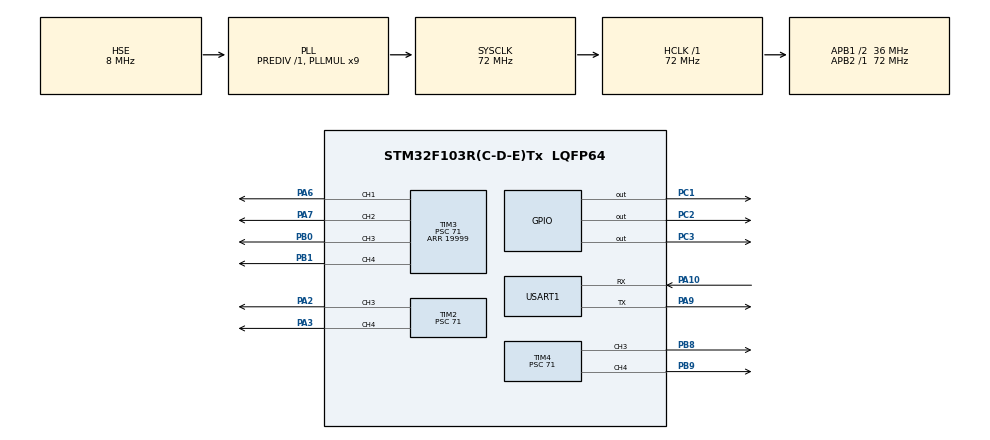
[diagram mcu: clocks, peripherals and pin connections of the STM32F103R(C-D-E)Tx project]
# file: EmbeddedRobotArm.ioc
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Mcu.Family=STM32F1
Mcu.Name=STM32F103R(C-D-E)Tx
Mcu.Package=LQFP64
NVIC.PriorityGroup=NVIC_PRIORITYGROUP_4
NVIC.USART1_IRQn=true\:0\:0\:false\:false\:true\:true\:true\:true
PA10.Mode=Asynchronous
PA10.Signal=USART1_RX
PA13.Mode=Serial_Wire
PA13.Signal=SYS_JTMS-SWDIO
PA14.Mode=Serial_Wire
PA14.Signal=SYS_JTCK-SWCLK
PA2.Signal=S_TIM2_CH3
PA3.Signal=S_TIM2_CH4
PA6.Signal=S_TIM3_CH1
PA7.Signal=S_TIM3_CH2
PA9.Mode=Asynchronous
PA9.Signal=USART1_TX
PB0.Signal=S_TIM3_CH3
PB1.Signal=S_TIM3_CH4
PB8.Signal=S_TIM4_CH3
PB9.Signal=S_TIM4_CH4
PC1.GPIO_PuPd=GPIO_PULLDOWN
PC1.GPIO_Speed=GPIO_SPEED_FREQ_HIGH
PC1.Signal=GPIO_Output
PC14-OSC32_IN.Mode=LSE-External-Oscillator
PC14-OSC32_IN.Signal=RCC_OSC32_IN
PC15-OSC32_OUT.Mode=LSE-External-Oscillator
PC15-OSC32_OUT.Signal=RCC_OSC32_OUT
PC2.GPIO_Speed=GPIO_SPEED_FREQ_LOW
PC2.PinState=GPIO_PIN_SET
PC2.Signal=GPIO_Output
PC3.GPIO_Speed=GPIO_SPEED_FREQ_LOW
PC3.PinState=GPIO_PIN_SET
PC3.Signal=GPIO_Output
PD0-OSC_IN.Mode=HSE-External-Oscillator
PD0-OSC_IN.Signal=RCC_OSC_IN
PD1-OSC_OUT.Mode=HSE-External-Oscillator
PD1-OSC_OUT.Signal=RCC_OSC_OUT
ProjectManager.HeapSize=0x200
ProjectManager.StackSize=0x400
ProjectManager.TargetToolchain=STM32CubeIDE
RCC.AHBFreq_Value=72000000
RCC.APB1CLKDivider=RCC_HCLK_DIV2
RCC.APB1Freq_Value=36000000
RCC.APB1TimFreq_Value=72000000
RCC.APB2Freq_Value=72000000
RCC.APB2TimFreq_Value=72000000
RCC.HCLKFreq_Value=72000000
RCC.PLLMUL=RCC_PLL_MUL9
RCC.PLLSourceVirtual=RCC_PLLSOURCE_HSE
RCC.SYSCLKFreq_VALUE=72000000
RCC.SYSCLKSource=RCC_SYSCLKSOURCE_PLLCLK
RCC.USBFreq_Value=72000000
SH.S_TIM2_CH3.0=TIM2_CH3,PWM Generation3 CH3
SH.S_TIM2_CH4.0=TIM2_CH4,PWM Generation4 CH4
SH.S_TIM3_CH1.0=TIM3_CH1,PWM Generation1 CH1
SH.S_TIM3_CH2.0=TIM3_CH2,PWM Generation2 CH2
SH.S_TIM3_CH3.0=TIM3_CH3,PWM Generation3 CH3
SH.S_TIM3_CH4.0=TIM3_CH4,PWM Generation4 CH4
SH.S_TIM4_CH3.0=TIM4_CH3,PWM Generation3 CH3
SH.S_TIM4_CH4.0=TIM4_CH4,PWM Generation4 CH4
TIM2.Channel-PWM\ Generation3\ CH3=TIM_CHANNEL_3
TIM2.Channel-PWM\ Generation4\ CH4=TIM_CHANNEL_4
TIM2.Period=19999
TIM2.Prescaler=71
TIM2.Pulse-PWM\ Generation3\ CH3=500
TIM2.Pulse-PWM\ Generation4\ CH4=500
TIM3.Channel-PWM\ Generation1\ CH1=TIM_CHANNEL_1
TIM3.Channel-PWM\ Generation2\ CH2=TIM_CHANNEL_2
TIM3.Channel-PWM\ Generation3\ CH3=TIM_CHANNEL_3
TIM3.Channel-PWM\ Generation4\ CH4=TIM_CHANNEL_4
TIM3.Period=19999
TIM3.Prescaler=71
TIM3.Pulse-PWM\ Generation1\ CH1=500
TIM3.Pulse-PWM\ Generation2\ CH2=500
TIM3.Pulse-PWM\ Generation3\ CH3=500
TIM3.Pulse-PWM\ Generation4\ CH4=500
TIM4.Channel-PWM\ Generation3\ CH3=TIM_CHANNEL_3
TIM4.Channel-PWM\ Generation4\ CH4=TIM_CHANNEL_4
TIM4.Period=19999
TIM4.Prescaler=71
TIM4.Pulse-PWM\ Generation3\ CH3=500
TIM4.Pulse-PWM\ Generation4\ CH4=500
USART1.VirtualMode=VM_ASYNC
VP_TIM2_VS_ClockSourceINT.Mode=Internal
VP_TIM3_VS_ClockSourceINT.Mode=Internal
VP_TIM4_VS_ClockSourceINT.Mode=Internal
board=custom

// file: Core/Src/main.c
/* USER CODE BEGIN Header */
/**
  ******************************************************************************
  * @file           : main.c
  * @brief          : Main program body
  ******************************************************************************
  * @attention
  *
  * Copyright (c) 2023 STMicroelectronics.
  * All rights reserved.
  *
  * This software is licensed under terms that can be found in the LICENSE file
  * in the root directory of this software component.
  * If no LICENSE file comes with this software, it is provided AS-IS.
  *
  ******************************************************************************
  */
/* USER CODE END Header */
#include "main.h"
#include "tim.h"
#include "usart.h"
#include "gpio.h"

void SystemClock_Config(void);

/* USER CODE BEGIN 0 */

void user_Function(uint8_t* string){
    uint8_t* pt = string + 1;
    uint8_t num = 0;
    while(*string != '+'){
        string++;
        pt = string + 1;
        num++;
    }
    if ((*pt == 'L' || *pt == 'l') &&
        (*(pt+1) == 'E' || *(pt+1) == 'e') &&
        (*(pt+2) == 'D' || *(pt+2) == 'd') &&
        (*(pt+3) == ',')) {
        pt = pt + 4;
        uint8_t idx;
        uint8_t led_num = 0;
        for (idx = 0; *(pt + idx) != ','; idx++) {
            led_num *= 10;
            led_num += *(pt + idx) - '0';
        }
        pt = pt + idx + 1;
        uint8_t led_sta = 0;
        for (idx = 0; *(pt + idx) != ','; idx++) {
            led_sta *= 10;
            led_sta += *(pt + idx) - '0';
        }
        if (led_num == 0) {
            if (led_sta == 0) {
                LED0_OFF();
                uint8_t TX_Str[] = "\r\nLED0: Close\r\n";
                HAL_UART_Transmit(&huart1, TX_Str, sizeof(TX_Str), 1000);
            } else if (led_sta == 1) {
                LED0_ON();
                uint8_t TX_Str[] = "\r\nLED0: Open\r\n";
                HAL_UART_Transmit(&huart1, TX_Str, sizeof(TX_Str), 1000);
            } else {
                uint8_t TX_Str[] = "\r\nLED0: Status Error\r\n";
                HAL_UART_Transmit(&huart1, TX_Str, sizeof(TX_Str), 1000);
            }
        } else if (led_num == 1) {
            if (led_sta == 0) {
                LED1_OFF();
                uint8_t TX_Str[] = "\r\nLED1: Close\r\n";
                HAL_UART_Transmit(&huart1, TX_Str, sizeof(TX_Str), 1000);
            } else if (led_sta == 1) {
                LED1_ON();
                uint8_t TX_Str[] = "\r\nLED1: Open\r\n";
                HAL_UART_Transmit(&huart1, TX_Str, sizeof(TX_Str), 1000);
            } else {
                uint8_t TX_Str[] = "\r\nLED1: Status Error\r\n";
                HAL_UART_Transmit(&huart1, TX_Str, sizeof(TX_Str), 1000);
            }
        } else {
            uint8_t TX_Str[] = "\r\nLED: Index Error\r\n";
            HAL_UART_Transmit(&huart1, TX_Str, sizeof(TX_Str), 1000);
        }
    }
    else if ((*pt == 'S' || *pt == 's') &&
             (*(pt+1) == 'E' || *(pt+1) == 'e') &&
             (*(pt+2) == 'R' || *(pt+2) == 'r') &&
             (*(pt+3) == ',')) {
        pt = pt + 4;
        uint8_t idx;
        uint8_t servo_num = 0;
        for (idx = 0; *(pt+idx)!= ','; idx++){
            servo_num *= 10;
            servo_num += *(pt+idx) - '0';
        }
        pt = pt + idx + 1;
        if (servo_num < 0 || servo_num > 6){
            uint8_t TX_Str[] = "\r\nSERVO: Index Error\r\n";
            HAL_UART_Transmit(&huart1, TX_Str, sizeof(TX_Str), 1000);
        }
        else{
            double servo_angle = 0;
            double servo_angle_tmp = 0;
            uint8_t flag = 0;
            for (idx = 0; *(pt + idx) != ','; idx++) {
                if (*(pt + idx) == '.') {
                    flag = 1;
                    continue;
                }

                if (flag == 0) {
                    servo_angle *= 10;
                    servo_angle = servo_angle + (double)(*(pt + idx) - '0');
                }
                else {
                    uint8_t tmp;
                    for (tmp = 0; tmp < flag; tmp++) {
                        servo_angle_tmp = (double)(*(pt + idx) - '0') / 10;
                    }
                    servo_angle += servo_angle_tmp;
                    flag++;
                }
            }

            if (servo_angle < 0 || servo_angle > 360){
                uint8_t TX_Str[] = "\r\nSER: Angle Setting Error\r\n";
                HAL_UART_Transmit(&huart1, TX_Str, sizeof(TX_Str), 1000);
            }
            else{
                if (servo_num == 0){
                    servo_pulse_last[0] = servo_pulse[0];
                    servo_pulse[0] = (uint16_t)(servo_angle / SERVO0_MAX_ANGLE * 2000 + 500);
                }
                else if (servo_num == 1){
                    servo_pulse_last[1] = servo_pulse[1];
                    servo_pulse[1] = (uint16_t)(servo_angle / SERVO1_MAX_ANGLE * 2000 + 500);
                }
                else if (servo_num == 2){
                    servo_pulse_last[2] = servo_pulse[2];
                    servo_pulse[2] = (uint16_t)(servo_angle / SERVO2_MAX_ANGLE * 2000 + 500);
                }
                else if (servo_num == 3){
                    servo_pulse_last[3] = servo_pulse[3];
                    servo_pulse[3] = (uint16_t)(servo_angle / SERVO3_MAX_ANGLE * 2000 + 500);
                }
                else if (servo_num == 4){
                    servo_pulse_last[4] = servo_pulse[4];
                    servo_pulse[4] = (uint16_t)(servo_angle / SERVO4_MAX_ANGLE * 2000 + 500);
                }
                else if (servo_num == 5){
                    servo_pulse_last[5] = servo_pulse[5];
                    servo_pulse[5] = (uint16_t)(servo_angle / SERVO5_MAX_ANGLE * 2000 + 500);
                }

                uint8_t TX_Str[] = "\r\nSER: Move Successfully\r\n";
                HAL_UART_Transmit(&huart1, TX_Str, sizeof(TX_Str), 1000);

                servo_Move2Goal();
            }
        }
    }
    else if ((*pt == 'S' || *pt == 's') &&
             (*(pt+1) == 'E' || *(pt+1) == 'e') &&
             (*(pt+2) == 'R' || *(pt+2) == 'r') &&
             (*(pt+3) == 'V' || *(pt+3) == 'v') &&
             (*(pt+4) == 'O' || *(pt+4) == 'o') &&
             (*(pt+5) == 'S' || *(pt+5) == 's') &&
             (*(pt+6) == ',')) {
        pt = pt + 7;
        uint8_t idx;
        uint8_t valid = 0;
        double angle[USED_SERVO_NUM] = {0};
        double angle_tmp[USED_SERVO_NUM] = {0};
        for(uint8_t i = 0; i < USED_SERVO_NUM; ++i){
            uint8_t flag = 0;
            for (idx = 0; *(pt + idx) != ','; idx++) {
                if (*(pt + idx) == '.') {
                    flag = 1;
                    continue;
                }

                if (flag == 0) {
                    angle[i] *= 10;
                    angle[i] = angle[i] + (double)(*(pt + idx) - '0');
                }
                else {
                    uint8_t tmp;
                    for (tmp = 0; tmp < flag; tmp++) {
                        angle_tmp[i] = (double)(*(pt + idx) - '0') / 10;
                    }
                    angle[i] += angle_tmp[i];
                    flag++;
                }
            }
            if (angle[i] < 0 || angle[i] > 360){
                valid = 1;
                break;
            }
            pt = pt + idx + 1;
            servo_pulse_last[i] = servo_pulse[i];
            servo_pulse[i] = (uint16_t)(angle[i] / SERVO0_MAX_ANGLE * 2000 + 500);
        }
        if (valid == 0){
            uint8_t TX_Str[] = "\r\nSERVOS: Move Successfully\r\n";
            HAL_UART_Transmit(&huart1, TX_Str, sizeof(TX_Str), 1000);

            servo_Move2Goal();
        }
        else{
            uint8_t TX_Str[] = "\r\nSERVOS: Angle Setting Error\r\n";
            HAL_UART_Transmit(&huart1, TX_Str, sizeof(TX_Str), 1000);
        }
    }
    else{
        uint8_t TX_Str[] = "\r\nUnknown Command\r\n";
        HAL_UART_Transmit(&huart1, TX_Str, sizeof(TX_Str), 1000);
    }
}

/* USER CODE END 0 */

int main(void)
{

  /* MCU Configuration--------------------------------------------------------*/

  /* Reset of all peripherals, Initializes the Flash interface and the Systick. */
  HAL_Init();

  /* Configure the system clock */
  SystemClock_Config();

  /* Initialize all configured peripherals */
  MX_GPIO_Init();
  MX_TIM2_Init();
  MX_TIM3_Init();
  MX_TIM4_Init();
  MX_USART1_UART_Init();
  /* USER CODE BEGIN 2 */

    BEEP_ON();
    servo_Init();
    BEEP_OFF();

    uint8_t TX_Str1[] = "\r\nInit Successfully\r\n";
    uint8_t TX_Str2[] = "\r\nType: \"+FUNCTION,PARAMETER1,PARAMETER2,...\" to command the board. E.g.\"+LED,1,1,\" can open the LED1.\r\n";
    HAL_UART_Transmit(&huart1, TX_Str1, sizeof(TX_Str1), 1000);
    HAL_UART_Transmit(&huart1, TX_Str2, sizeof(TX_Str2), 1000);

    HAL_UART_Receive_IT(&huart1, (uint8_t *)rx_buffer, RXBUFFERSIZE);

  /* USER CODE END 2 */

  /* Infinite loop */
  while (1)
  {

    /* USER CODE BEGIN 3 */

      if (usart_rx_sta & 0x8000){
          user_Function(usart_rx_buf);
          usart_rx_sta = 0;
      }
      else {
          HAL_Delay(10);
      }

  }
  /* USER CODE END 3 */
}

void SystemClock_Config(void)
{
  RCC_OscInitTypeDef RCC_OscInitStruct = {0};
  RCC_ClkInitTypeDef RCC_ClkInitStruct = {0};

  /** Initializes the RCC Oscillators according to the specified parameters
  * in the RCC_OscInitTypeDef structure.
  */
  RCC_OscInitStruct.OscillatorType = RCC_OSCILLATORTYPE_HSE;
  RCC_OscInitStruct.HSEState = RCC_HSE_ON;
  RCC_OscInitStruct.HSEPredivValue = RCC_HSE_PREDIV_DIV1;
  RCC_OscInitStruct.HSIState = RCC_HSI_ON;
  RCC_OscInitStruct.PLL.PLLState = RCC_PLL_ON;
  RCC_OscInitStruct.PLL.PLLSource = RCC_PLLSOURCE_HSE;
  RCC_OscInitStruct.PLL.PLLMUL = RCC_PLL_MUL9;
  if (HAL_RCC_OscConfig(&RCC_OscInitStruct) != HAL_OK)
  {
    Error_Handler();
  }

  /** Initializes the CPU, AHB and APB buses clocks
  */
  RCC_ClkInitStruct.ClockType = RCC_CLOCKTYPE_HCLK|RCC_CLOCKTYPE_SYSCLK
                              |RCC_CLOCKTYPE_PCLK1|RCC_CLOCKTYPE_PCLK2;
  RCC_ClkInitStruct.SYSCLKSource = RCC_SYSCLKSOURCE_PLLCLK;
  RCC_ClkInitStruct.AHBCLKDivider = RCC_SYSCLK_DIV1;
  RCC_ClkInitStruct.APB1CLKDivider = RCC_HCLK_DIV2;
  RCC_ClkInitStruct.APB2CLKDivider = RCC_HCLK_DIV1;

  if (HAL_RCC_ClockConfig(&RCC_ClkInitStruct, FLASH_LATENCY_2) != HAL_OK)
  {
    Error_Handler();
  }
}

void Error_Handler(void)
{
  __disable_irq();
  while (1)
  {
  }
}
